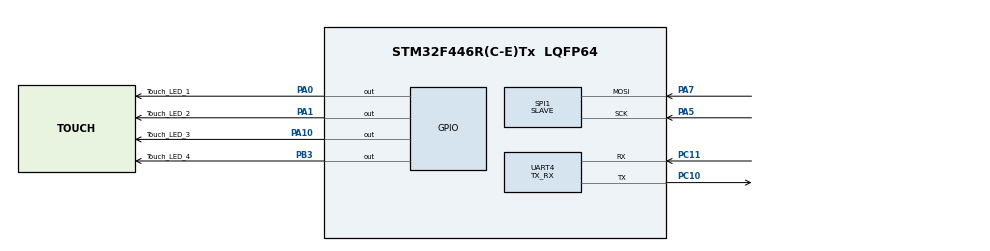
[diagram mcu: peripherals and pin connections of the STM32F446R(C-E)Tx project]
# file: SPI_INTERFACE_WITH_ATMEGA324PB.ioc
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Dma.Request0=SPI1_RX
Dma.Request1=UART4_RX
Dma.SPI1_RX.0.Direction=DMA_PERIPH_TO_MEMORY
Dma.SPI1_RX.0.FIFOMode=DMA_FIFOMODE_DISABLE
Dma.SPI1_RX.0.Instance=DMA2_Stream0
Dma.SPI1_RX.0.MemDataAlignment=DMA_MDATAALIGN_BYTE
Dma.SPI1_RX.0.MemInc=DMA_MINC_ENABLE
Dma.SPI1_RX.0.Mode=DMA_NORMAL
Dma.SPI1_RX.0.PeriphDataAlignment=DMA_PDATAALIGN_BYTE
Dma.SPI1_RX.0.PeriphInc=DMA_PINC_DISABLE
Dma.SPI1_RX.0.Priority=DMA_PRIORITY_LOW
Dma.UART4_RX.1.Direction=DMA_PERIPH_TO_MEMORY
Dma.UART4_RX.1.FIFOMode=DMA_FIFOMODE_DISABLE
Dma.UART4_RX.1.Instance=DMA1_Stream2
Dma.UART4_RX.1.MemDataAlignment=DMA_MDATAALIGN_BYTE
Dma.UART4_RX.1.MemInc=DMA_MINC_ENABLE
Dma.UART4_RX.1.Mode=DMA_NORMAL
Dma.UART4_RX.1.PeriphDataAlignment=DMA_PDATAALIGN_BYTE
Dma.UART4_RX.1.PeriphInc=DMA_PINC_DISABLE
Dma.UART4_RX.1.Priority=DMA_PRIORITY_LOW
Mcu.Family=STM32F4
Mcu.Name=STM32F446R(C-E)Tx
Mcu.Package=LQFP64
NVIC.DMA1_Stream2_IRQn=true\:0\:0\:false\:false\:true\:false\:true\:true
NVIC.DMA2_Stream0_IRQn=true\:0\:0\:false\:false\:true\:false\:true\:true
NVIC.PriorityGroup=NVIC_PRIORITYGROUP_4
NVIC.SPI1_IRQn=true\:0\:0\:false\:false\:true\:true\:true\:true
NVIC.UART4_IRQn=true\:0\:0\:false\:false\:true\:true\:true\:true
PA0-WKUP.GPIO_Label=Touch_LED_1
PA0-WKUP.Signal=GPIO_Output
PA1.GPIO_Label=Touch_LED_2
PA1.Signal=GPIO_Output
PA10.GPIO_Label=Touch_LED_3
PA10.Signal=GPIO_Output
PA5.Mode=RX_Only_Simplex_Unidirect_Slave
PA5.Signal=SPI1_SCK
PA7.Mode=RX_Only_Simplex_Unidirect_Slave
PA7.Signal=SPI1_MOSI
PB3.GPIO_Label=Touch_LED_4
PB3.Signal=GPIO_Output
PC10.Mode=Asynchronous
PC10.Signal=UART4_TX
PC11.Mode=Asynchronous
PC11.Signal=UART4_RX
ProjectManager.HeapSize=0x200
ProjectManager.StackSize=0x400
ProjectManager.TargetToolchain=STM32CubeIDE
RCC.CortexFreq_Value=16000000
RCC.USBFreq_Value=96000000
RCC.VCOOutputFreq_Value=192000000
SPI1.Direction=SPI_DIRECTION_2LINES_RXONLY
SPI1.Mode=SPI_MODE_SLAVE
SPI1.VirtualType=VM_SLAVE
UART4.Mode=MODE_TX_RX
UART4.VirtualMode=Asynchronous
board=custom

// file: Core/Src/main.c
/* USER CODE BEGIN Header */
/**
  ******************************************************************************
  * @file           : main.c
  * @brief          : Main program body
  ******************************************************************************
  * @attention
  *
  * Copyright (c) 2024 STMicroelectronics.
  * All rights reserved.
  *
  * This software is licensed under terms that can be found in the LICENSE file
  * in the root directory of this software component.
  * If no LICENSE file comes with this software, it is provided AS-IS.
  *
  ******************************************************************************
  */
/* USER CODE END Header */
#include "main.h"

/* USER CODE BEGIN Includes */
#include "string.h"
/* USER CODE END Includes */

SPI_HandleTypeDef hspi1;
DMA_HandleTypeDef hdma_spi1_rx;

UART_HandleTypeDef huart4;
DMA_HandleTypeDef hdma_uart4_rx;

/* USER CODE BEGIN PV */
uint8_t uartRxBuffer;
uint8_t spiRxBuffer[3];
volatile uint8_t dataReceived = 0;
volatile uint8_t light1State;
volatile uint8_t light2State;
volatile uint8_t light3State;
volatile uint8_t light4State;
/* USER CODE END PV */

void SystemClock_Config(void);
static void MX_GPIO_Init(void);
static void MX_DMA_Init(void);
static void MX_SPI1_Init(void);
static void MX_UART4_Init(void);

int main(void)
{

  /* MCU Configuration--------------------------------------------------------*/

  /* Reset of all peripherals, Initializes the Flash interface and the Systick. */
  HAL_Init();

  /* Configure the system clock */
  SystemClock_Config();

  /* Initialize all configured peripherals */
  MX_GPIO_Init();
  MX_DMA_Init();
  MX_SPI1_Init();
  MX_UART4_Init();
  /* USER CODE BEGIN 2 */
  if(HAL_SPI_Receive_IT(&hspi1,spiRxBuffer, sizeof(spiRxBuffer)- 1) != HAL_OK)
  {
	  //Error_Handler();
  }
  if(HAL_UART_Receive_IT(&huart4, &uartRxBuffer, 1) != HAL_OK)
  {

  }
  /* USER CODE END 2 */

  /* Infinite loop */
  while (1)
  {

  }
}

void SystemClock_Config(void)
{
  RCC_OscInitTypeDef RCC_OscInitStruct = {0};
  RCC_ClkInitTypeDef RCC_ClkInitStruct = {0};

  /** Configure the main internal regulator output voltage
  */
  __HAL_RCC_PWR_CLK_ENABLE();
  __HAL_PWR_VOLTAGESCALING_CONFIG(PWR_REGULATOR_VOLTAGE_SCALE3);

  /** Initializes the RCC Oscillators according to the specified parameters
  * in the RCC_OscInitTypeDef structure.
  */
  RCC_OscInitStruct.OscillatorType = RCC_OSCILLATORTYPE_HSI;
  RCC_OscInitStruct.HSIState = RCC_HSI_ON;
  RCC_OscInitStruct.HSICalibrationValue = RCC_HSICALIBRATION_DEFAULT;
  RCC_OscInitStruct.PLL.PLLState = RCC_PLL_NONE;
  if (HAL_RCC_OscConfig(&RCC_OscInitStruct) != HAL_OK)
  {
    Error_Handler();
  }

  /** Initializes the CPU, AHB and APB buses clocks
  */
  RCC_ClkInitStruct.ClockType = RCC_CLOCKTYPE_HCLK|RCC_CLOCKTYPE_SYSCLK
                              |RCC_CLOCKTYPE_PCLK1|RCC_CLOCKTYPE_PCLK2;
  RCC_ClkInitStruct.SYSCLKSource = RCC_SYSCLKSOURCE_HSI;
  RCC_ClkInitStruct.AHBCLKDivider = RCC_SYSCLK_DIV1;
  RCC_ClkInitStruct.APB1CLKDivider = RCC_HCLK_DIV1;
  RCC_ClkInitStruct.APB2CLKDivider = RCC_HCLK_DIV1;

  if (HAL_RCC_ClockConfig(&RCC_ClkInitStruct, FLASH_LATENCY_0) != HAL_OK)
  {
    Error_Handler();
  }
}

static void MX_SPI1_Init(void)
{

  /* SPI1 parameter configuration*/
  hspi1.Instance = SPI1;
  hspi1.Init.Mode = SPI_MODE_SLAVE;
  hspi1.Init.Direction = SPI_DIRECTION_2LINES_RXONLY;
  hspi1.Init.DataSize = SPI_DATASIZE_8BIT;
  hspi1.Init.CLKPolarity = SPI_POLARITY_LOW;
  hspi1.Init.CLKPhase = SPI_PHASE_1EDGE;
  hspi1.Init.NSS = SPI_NSS_SOFT;
  hspi1.Init.FirstBit = SPI_FIRSTBIT_MSB;
  hspi1.Init.TIMode = SPI_TIMODE_DISABLE;
  hspi1.Init.CRCCalculation = SPI_CRCCALCULATION_DISABLE;
  hspi1.Init.CRCPolynomial = 10;
  if (HAL_SPI_Init(&hspi1) != HAL_OK)
  {
    Error_Handler();
  }

}

static void MX_UART4_Init(void)
{

  huart4.Instance = UART4;
  huart4.Init.BaudRate = 115200;
  huart4.Init.WordLength = UART_WORDLENGTH_8B;
  huart4.Init.StopBits = UART_STOPBITS_1;
  huart4.Init.Parity = UART_PARITY_NONE;
  huart4.Init.Mode = UART_MODE_TX_RX;
  huart4.Init.HwFlowCtl = UART_HWCONTROL_NONE;
  huart4.Init.OverSampling = UART_OVERSAMPLING_16;
  if (HAL_UART_Init(&huart4) != HAL_OK)
  {
    Error_Handler();
  }

}

static void MX_DMA_Init(void)
{

  /* DMA controller clock enable */
  __HAL_RCC_DMA2_CLK_ENABLE();
  __HAL_RCC_DMA1_CLK_ENABLE();

  /* DMA interrupt init */
  /* DMA1_Stream2_IRQn interrupt configuration */
  HAL_NVIC_SetPriority(DMA1_Stream2_IRQn, 0, 0);
  HAL_NVIC_EnableIRQ(DMA1_Stream2_IRQn);
  /* DMA2_Stream0_IRQn interrupt configuration */
  HAL_NVIC_SetPriority(DMA2_Stream0_IRQn, 0, 0);
  HAL_NVIC_EnableIRQ(DMA2_Stream0_IRQn);

}

static void MX_GPIO_Init(void)
{
  GPIO_InitTypeDef GPIO_InitStruct = {0};

  /* GPIO Ports Clock Enable */
  __HAL_RCC_GPIOA_CLK_ENABLE();
  __HAL_RCC_GPIOC_CLK_ENABLE();
  __HAL_RCC_GPIOB_CLK_ENABLE();

  /*Configure GPIO pin Output Level */
  HAL_GPIO_WritePin(GPIOA, Touch_LED_1_Pin|Touch_LED_2_Pin|Touch_LED_3_Pin, GPIO_PIN_RESET);

  /*Configure GPIO pin Output Level */
  HAL_GPIO_WritePin(Touch_LED_4_GPIO_Port, Touch_LED_4_Pin, GPIO_PIN_RESET);

  /*Configure GPIO pins : Touch_LED_1_Pin Touch_LED_2_Pin Touch_LED_3_Pin */
  GPIO_InitStruct.Pin = Touch_LED_1_Pin|Touch_LED_2_Pin|Touch_LED_3_Pin;
  GPIO_InitStruct.Mode = GPIO_MODE_OUTPUT_PP;
  GPIO_InitStruct.Pull = GPIO_NOPULL;
  GPIO_InitStruct.Speed = GPIO_SPEED_FREQ_LOW;
  HAL_GPIO_Init(GPIOA, &GPIO_InitStruct);

  /*Configure GPIO pin : Touch_LED_4_Pin */
  GPIO_InitStruct.Pin = Touch_LED_4_Pin;
  GPIO_InitStruct.Mode = GPIO_MODE_OUTPUT_PP;
  GPIO_InitStruct.Pull = GPIO_NOPULL;
  GPIO_InitStruct.Speed = GPIO_SPEED_FREQ_LOW;
  HAL_GPIO_Init(Touch_LED_4_GPIO_Port, &GPIO_InitStruct);

}

/* USER CODE BEGIN 4 */
void HAL_SPI_RxCpltCallback(SPI_HandleTypeDef *hspi)
{
	if(hspi->Instance == SPI1)
	{
		spiRxBuffer[sizeof(spiRxBuffer) - 1] = '\0';
		if(strcmp((char *)spiRxBuffer, "L1") == 0)
		{
			HAL_GPIO_TogglePin(Touch_LED_1_GPIO_Port, Touch_LED_1_Pin);
			uint8_t Newlight1_state = (light1State == 0 ) ? 1 : 0;
			if(Newlight1_state != light1State){
				light1State = Newlight1_state;
				if(light1State == 1){
					uint8_t uartTxData = 'A';
					HAL_UART_Transmit(&huart4, &uartTxData, 1, 10);
				}else{
					uint8_t uartTxData = 'B';
					HAL_UART_Transmit(&huart4, &uartTxData, 1, 10);
				}
			}

		}
		else if(strcmp((char *)spiRxBuffer, "L2") == 0)
		{
			HAL_GPIO_TogglePin(Touch_LED_2_GPIO_Port, Touch_LED_2_Pin);
		    uint8_t Newlight2_state = (light2State == 0) ? 1: 0;
		    if(Newlight2_state != light2State){
		    	light2State = Newlight2_state;
		    	if(light2State == 1){
		    		uint8_t uartTxData = 'C';
		    		HAL_UART_Transmit(&huart4, &uartTxData, 1, 10);
		    	}else{
		    		uint8_t uartTxData = 'D';
		    	    HAL_UART_Transmit(&huart4, &uartTxData, 1, 10);
		    	}
		    }
		}
		else if(strcmp((char *)spiRxBuffer, "L3") == 0)
		{
			HAL_GPIO_TogglePin(Touch_LED_3_GPIO_Port, Touch_LED_3_Pin);
			uint8_t Newlight3_state = (light3State == 0) ? 1 : 0;
			if(Newlight3_state != light3State){
				light3State = Newlight3_state;
				if(light3State == 1){
					uint8_t uartTxData = 'E';
					HAL_UART_Transmit(&huart4, &uartTxData, 1, 10);
				}else{
					uint8_t uartTxData = 'F';
				    HAL_UART_Transmit(&huart4, &uartTxData, 1, 10);
				}
			}
		}
		else if(strcmp((char *)spiRxBuffer, "L4") == 0)
		{
			HAL_GPIO_TogglePin(Touch_LED_4_GPIO_Port, Touch_LED_4_Pin);
			uint8_t Newlight4_state = (light4State == 0) ? 1 : 0;
			if(Newlight4_state != light4State){
				light4State = Newlight4_state;
		        if(light4State == 1){
		        	uint8_t uartTxData = 'G';
		        	HAL_UART_Transmit(&huart4, &uartTxData, 1, 10);
		        }else{
		        	uint8_t uartTxData = 'H';
		        	HAL_UART_Transmit(&huart4, &uartTxData, 1, 10);
		        }
			}
		}
		if (HAL_SPI_Receive_IT(hspi, spiRxBuffer, sizeof(spiRxBuffer) - 1) != HAL_OK)
		{
		    //Error_Handler();
		}
	}
}

void HAL_UART_RxCpltCallback(UART_HandleTypeDef *huart){
	if(huart->Instance == UART4){

        if (uartRxBuffer == 'L') {
        	//HAL_GPIO_TogglePin(Touch_LED_1_GPIO_Port, Touch_LED_1_Pin);
            if (HAL_UART_Receive(&huart4, &uartRxBuffer, 1, 10) == HAL_OK) {
                if (uartRxBuffer == '1') {
                    HAL_GPIO_WritePin(Touch_LED_1_GPIO_Port, Touch_LED_1_Pin, GPIO_PIN_SET);    // light1_ON()
                    light1State = 1;
                } else if (uartRxBuffer == '0') {
                    HAL_GPIO_WritePin(Touch_LED_1_GPIO_Port, Touch_LED_1_Pin, GPIO_PIN_RESET);  // light1_OFF()
                    light1State = 0;
                }
            }
        }
        else if (uartRxBuffer == 'M') {
        	//HAL_GPIO_TogglePin(Touch_LED_2_GPIO_Port, Touch_LED_2_Pin);
            if (HAL_UART_Receive(&huart4, &uartRxBuffer, 1, 10) == HAL_OK) {
                if (uartRxBuffer == '1') {
                    HAL_GPIO_WritePin(Touch_LED_2_GPIO_Port, Touch_LED_2_Pin, GPIO_PIN_SET);    // light2_ON()
                    light2State = 1;
                } else if (uartRxBuffer == '0') {
                    HAL_GPIO_WritePin(Touch_LED_2_GPIO_Port, Touch_LED_2_Pin, GPIO_PIN_RESET);  // light2_OFF()
                    light2State = 0;
                }
            }
        }
        else if (uartRxBuffer == 'N') {
        	//HAL_GPIO_TogglePin(Touch_LED_3_GPIO_Port, Touch_LED_3_Pin);
            if (HAL_UART_Receive(&huart4, &uartRxBuffer, 1, 10) == HAL_OK) {
                if (uartRxBuffer == '1') {
                    HAL_GPIO_WritePin(Touch_LED_3_GPIO_Port, Touch_LED_3_Pin, GPIO_PIN_SET);                      // light3_ON()
                    light3State = 1;
                } else if (uartRxBuffer == '0') {
                    HAL_GPIO_WritePin(Touch_LED_3_GPIO_Port, Touch_LED_3_Pin, GPIO_PIN_RESET);                    // light3_OFF()
                    light3State = 0;
                }
            }
        }
        else if (uartRxBuffer == 'O') {
        	//HAL_GPIO_TogglePin(Touch_LED_4_GPIO_Port, Touch_LED_4_Pin);
            if (HAL_UART_Receive(&huart4, &uartRxBuffer, 1, 10) == HAL_OK) {
                if (uartRxBuffer == '1') {
                    HAL_GPIO_WritePin(Touch_LED_4_GPIO_Port, Touch_LED_4_Pin, GPIO_PIN_SET);  // light4_ON()
                    light4State = 1;
                } else if (uartRxBuffer == '0') {
                    HAL_GPIO_WritePin(Touch_LED_4_GPIO_Port, Touch_LED_4_Pin, GPIO_PIN_RESET);  // light4_OFF()
                    light4State = 0;
                }
            }
        }
        HAL_UART_Receive_IT(&huart4, &uartRxBuffer, 1);
	}
}
/* USER CODE END 4 */

void Error_Handler(void)
{
  __disable_irq();
  while (1)
  {
  }
}
